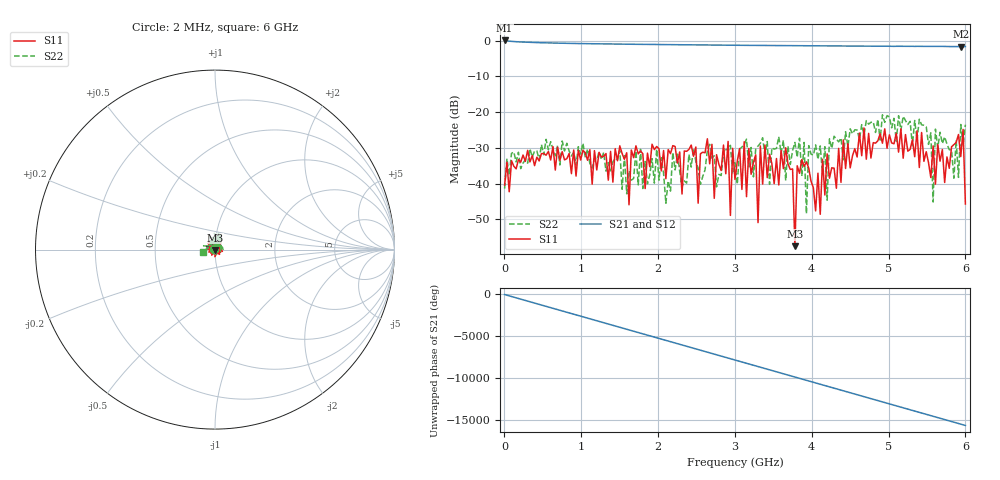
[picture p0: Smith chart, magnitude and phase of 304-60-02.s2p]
!Agilent N9923A: A.07.32
!Date: Monday, 11 January 2016 22:37:00
!Model: N9923A
!Serial: MY52412257
!GPS Latitude:
!GPS Longitude:
!GPS TimeStamp: 0001-01-01 00:00:00Z
!GPS Seconds Since Last Read: 0
!CHECKSUM:1572783361
!Correction: S11(ON Q)S21(ON Q)S12(ON Q)S22(ON Q)
!S2P File: Measurements:S11,S21,S12,S22:
# Hz S DB R 50
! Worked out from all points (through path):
!   201 points, 2 MHz to 6 GHz, reference 50 ohm
!   highest |S21| = 0.04 dB at 2 MHz (marker M1); lowest = -1.7 dB at 5.94 GHz (marker M2)
!   lowest |S11| = -57.5 dB at 3.781 GHz (marker M3), VSWR 1.00, Z = 50 - j0.134 ohm
!   |S11| at or under -10 dB: start of sweep to end of sweep
!   |S22| runs from -48.4 to -20.7 dB; largest |S21 - S12| = 0.033
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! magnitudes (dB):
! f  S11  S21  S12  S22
! 2 MHz  -40.4  0.0  0.0  -41.4
! 1.022 GHz  -30.7  -0.8  -0.9  -28.7
! 1.621 GHz  -45.9  -1.0  -1.0  -36.5
! 2.011 GHz  -30.2  -1.1  -1.1  -39.0
! 3.001 GHz  -38.8  -1.3  -1.3  -34.2
! 3.271 GHz  -31.9  -1.3  -1.3  -30.2
! 3.301 GHz  -50.9  -1.3  -1.4  -29.5
! 3.331 GHz  -29.5  -1.4  -1.4  -28.7
! 3.661 GHz  -30.0  -1.4  -1.4  -39.1
! 3.751 GHz  -35.9  -1.4  -1.4  -30.7
! 3.781 GHz  -57.5  -1.4  -1.4  -28.5
! 3.811 GHz  -35.0  -1.4  -1.5  -32.6
! 3.901 GHz  -35.2  -1.5  -1.5  -28.5
! 3.931 GHz  -33.9  -1.4  -1.5  -48.4
! 4.021 GHz  -41.1  -1.5  -1.5  -32.0
! 5.01 GHz  -26.3  -1.6  -1.6  -21.3
! 5.55 GHz  -38.3  -1.6  -1.6  -25.8
! 5.58 GHz  -29.4  -1.6  -1.6  -45.1
! 5.61 GHz  -40.1  -1.6  -1.6  -24.7
! 5.91 GHz  -26.3  -1.7  -1.7  -38.3
! 5.94 GHz  -32.4  -1.7  -1.7  -23.5
! 6 GHz  -45.7  -1.7  -1.7  -23.5
